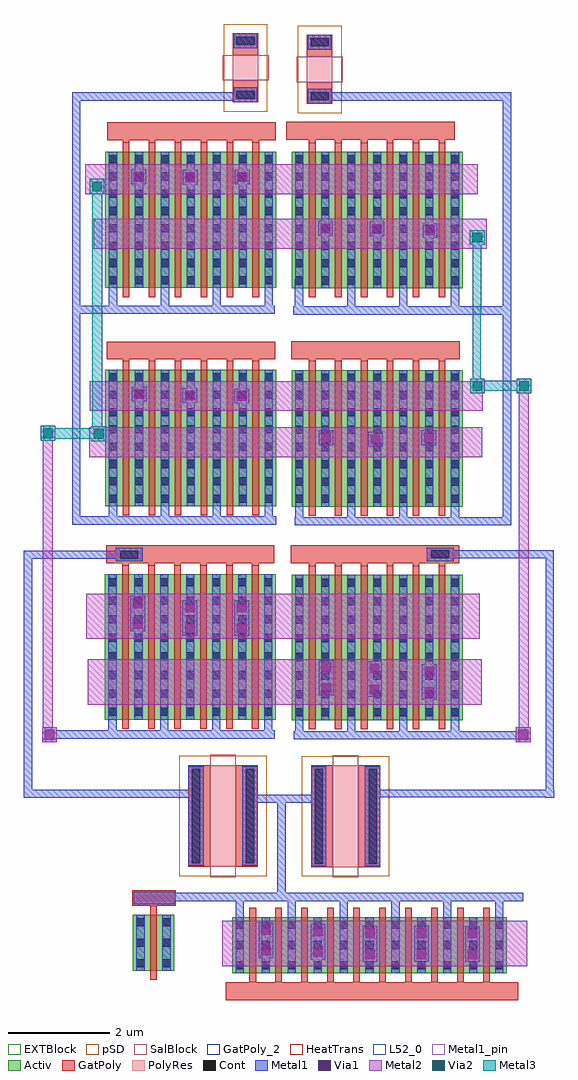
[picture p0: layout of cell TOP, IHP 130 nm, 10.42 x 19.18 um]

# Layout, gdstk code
from math import pi, radians
import gdstk
lib = gdstk.Library(unit=1e-6, precision=1e-09)
def R(c, l, rs):  # rectangles x0, y0, x1, y1
    for r in rs: c.add(gdstk.rectangle(r[:2], r[2:], *l))
def A(c, l, x, y, w, h, nx, ny, dx, dy):  # array of equal rectangles
    R(c, l, [(x+i*dx, y+j*dy, x+i*dx+w, y+j*dy+h) for i in range(nx) for j in range(ny)])
Activ = (1, 0)
GatPoly = (5, 0)
GatPoly_2 = (5, 2)
Cont = (6, 0)
Metal1 = (8, 0)
Metal1_pin = (8, 2)
Metal2 = (10, 0)
pSD = (14, 0)
Via1 = (19, 0)
SalBlock = (28, 0)
Via2 = (29, 0)
Metal3 = (30, 0)
HeatTrans = (51, 0)
L52_0 = (52, 0)
EXTBlock = (111, 0)
PolyRes = (128, 0)

rppd = lib.new_cell('rppd')
R(rppd, GatPoly, [(0,-0.43,2,-0.2), (0,-0.2,2,0), (0,0.5,2,0.7), (0,0.7,2,0.93)])
R(rppd, Cont, [(0.07,-0.36,1.93,-0.2), (0.07,0.7,1.93,0.86)])
R(rppd, Metal1, [(0.02,-0.43,1.98,-0.13), (0.02,0.63,1.98,0.93)])
R(rppd, Metal1_pin, [(0.02,-0.43,1.98,-0.13), (0.02,0.63,1.98,0.93)])
R(rppd, pSD, [(-0.18,-0.61,2.18,0), (-0.18,0,2.18,0.5), (-0.18,0.5,2.18,1.11)])
R(rppd, SalBlock, [(-0.2,0,2.2,0.5)])
R(rppd, L52_0, [(0,0,2,0.5)])
R(rppd, EXTBlock, [(-0.18,-0.61,2.18,0), (-0.2,0,2.2,0.5), (-0.18,0.5,2.18,1.11)])
R(rppd, PolyRes, [(0,0,2,0.5)])
rppd.add(gdstk.Label('rpnd r=99.806', (1,0.25), layer=63, texttype=0))
rppd.add(gdstk.Label('rppd', (1,0.25), layer=52, texttype=0))

nmos_4 = lib.new_cell('nmos$4')
A(nmos_4, Activ, 0, 0, 0.3, 0.3, 7, 1, 0.51, 0)
R(nmos_4, Activ, [(0,0,3.36,2.68)])
A(nmos_4, GatPoly, 0.34, -0.18, 0.13, 3.04, 6, 1, 0.51, 0)
R(nmos_4, GatPoly_2, [(0.34,-0.18,0.47,2.86)])
A(nmos_4, Cont, 0.07, 0.07, 0.16, 0.16, 7, 8, 0.51, 0.34)
A(nmos_4, Metal1, 0.07, 0, 0.16, 2.68, 7, 1, 0.51, 0)
R(nmos_4, Metal1_pin, [(0.07,0,0.23,2.68), (0.58,0,0.74,2.68)])
A(nmos_4, HeatTrans, 0.34, -0.18, 0.13, 3.04, 6, 1, 0.51, 0)
nmos_4.add(gdstk.Label('nmos', (0.405,1.34), layer=63, texttype=0))
nmos_4.add(gdstk.Label('nmos', (0.405,1.34), layer=51, texttype=0))
nmos_4.add(gdstk.Label('nmos', (0.915,1.34), layer=51, texttype=0))
nmos_4.add(gdstk.Label('nmos', (1.425,1.34), layer=51, texttype=0))
nmos_4.add(gdstk.Label('nmos', (1.935,1.34), layer=51, texttype=0))
nmos_4.add(gdstk.Label('nmos', (2.445,1.34), layer=51, texttype=0))
nmos_4.add(gdstk.Label('nmos', (2.955,1.34), layer=51, texttype=0))

nmos_6 = lib.new_cell('nmos$6')
A(nmos_6, Activ, 0, 0, 0.3, 0.3, 7, 1, 0.51, 0)
R(nmos_6, Activ, [(0,0,3.36,2.85)])
A(nmos_6, GatPoly, 0.34, -0.18, 0.13, 3.21, 6, 1, 0.51, 0)
R(nmos_6, GatPoly_2, [(0.34,-0.18,0.47,3.03)])
A(nmos_6, Cont, 0.07, 0.07, 0.16, 0.16, 7, 2, 0.51, 0.36)
A(nmos_6, Cont, 0.07, 0.795, 0.16, 0.16, 7, 6, 0.51, 0.365)
A(nmos_6, Metal1, 0.07, 0, 0.16, 2.85, 7, 1, 0.51, 0)
R(nmos_6, Metal1_pin, [(0.07,0,0.23,2.85), (0.58,0,0.74,2.85)])
A(nmos_6, HeatTrans, 0.34, -0.18, 0.13, 3.21, 6, 1, 0.51, 0)
nmos_6.add(gdstk.Label('nmos', (0.405,1.425), layer=63, texttype=0))
nmos_6.add(gdstk.Label('nmos', (0.405,1.425), layer=51, texttype=0))
nmos_6.add(gdstk.Label('nmos', (0.915,1.425), layer=51, texttype=0))
nmos_6.add(gdstk.Label('nmos', (1.425,1.425), layer=51, texttype=0))
nmos_6.add(gdstk.Label('nmos', (1.935,1.425), layer=51, texttype=0))
nmos_6.add(gdstk.Label('nmos', (2.445,1.425), layer=51, texttype=0))
nmos_6.add(gdstk.Label('nmos', (2.955,1.425), layer=51, texttype=0))

via_stack_1 = lib.new_cell('via_stack$1')
R(via_stack_1, Metal1, [(-0.145,-0.145,0.145,0.145)])
R(via_stack_1, Metal2, [(-0.145,-0.145,0.145,0.145)])
R(via_stack_1, Via1, [(-0.095,-0.095,0.095,0.095)])

via_stack = lib.new_cell('via_stack')
R(via_stack, Metal2, [(-0.145,-0.145,0.145,0.145)])
R(via_stack, Via2, [(-0.095,-0.095,0.095,0.095)])
R(via_stack, Metal3, [(-0.145,-0.145,0.145,0.145)])

via_stack_2 = lib.new_cell('via_stack$2')
R(via_stack_2, Metal1, [(-0.145,-0.35,0.145,0.35)])
R(via_stack_2, Metal2, [(-0.145,-0.35,0.145,0.35)])
R(via_stack_2, Via1, [(-0.095,-0.3,0.095,-0.11), (-0.095,0.11,0.095,0.3)])

rppd_2 = lib.new_cell('rppd$2')
R(rppd_2, GatPoly, [(0,-0.43,2,-0.2), (0,-0.2,2,0), (0,0.5,2,0.7), (0,0.7,2,0.93)])
R(rppd_2, Cont, [(0.07,-0.36,1.93,-0.2), (0.07,0.7,1.93,0.86)])
R(rppd_2, Metal1, [(0.02,-0.43,1.98,-0.13), (0.02,0.63,1.98,0.93)])
R(rppd_2, Metal1_pin, [(0.02,-0.43,1.98,-0.13), (0.02,0.63,1.98,0.93)])
R(rppd_2, pSD, [(-0.18,-0.61,2.18,0), (-0.18,0,2.18,0.5), (-0.18,0.5,2.18,1.11)])
R(rppd_2, SalBlock, [(-0.2,0,2.2,0.5)])
R(rppd_2, L52_0, [(0,0,2,0.5)])
R(rppd_2, EXTBlock, [(-0.18,-0.61,2.18,0), (-0.2,0,2.2,0.5), (-0.18,0.5,2.18,1.11)])
R(rppd_2, PolyRes, [(0,0,2,0.5)])
rppd_2.add(gdstk.Label('rpnd r=99.806', (1,0.25), layer=63, texttype=0))
rppd_2.add(gdstk.Label('rppd', (1,0.25), layer=52, texttype=0))

rppd_4 = lib.new_cell('rppd$4')
R(rppd_4, GatPoly, [(0,-0.43,0.5,-0.2), (0,-0.2,0.5,0), (0,0.5,0.5,0.7), (0,0.7,0.5,0.93)])
R(rppd_4, Cont, [(0.07,-0.36,0.43,-0.2), (0.07,0.7,0.43,0.86)])
R(rppd_4, Metal1, [(0.02,-0.43,0.48,-0.13), (0.02,0.63,0.48,0.93)])
R(rppd_4, Metal1_pin, [(0.02,-0.43,0.48,-0.13), (0.02,0.63,0.48,0.93)])
R(rppd_4, pSD, [(-0.18,-0.61,0.68,0), (-0.18,0,0.68,0.5), (-0.18,0.5,0.68,1.11)])
R(rppd_4, SalBlock, [(-0.2,0,0.7,0.5)])
R(rppd_4, L52_0, [(0,0,0.5,0.5)])
R(rppd_4, EXTBlock, [(-0.18,-0.61,0.68,0), (-0.2,0,0.7,0.5), (-0.18,0.5,0.68,1.11)])
R(rppd_4, PolyRes, [(0,0,0.5,0.5)])
rppd_4.add(gdstk.Label('rpnd r=396.917', (0.25,0.25), layer=63, texttype=0))
rppd_4.add(gdstk.Label('rppd', (0.25,0.25), layer=52, texttype=0))

nmos_7 = lib.new_cell('nmos$7')
R(nmos_7, Activ, [(0,0,0.3,0.3), (0,0,0.81,1.1), (0.51,0,0.81,0.3)])
R(nmos_7, GatPoly, [(0.34,-0.18,0.47,1.28)])
R(nmos_7, GatPoly_2, [(0.34,-0.18,0.47,1.28)])
A(nmos_7, Cont, 0.07, 0.07, 0.16, 0.16, 1, 3, 0, 0.4)
A(nmos_7, Cont, 0.58, 0.07, 0.16, 0.16, 1, 3, 0, 0.4)
R(nmos_7, Metal1, [(0.07,0,0.23,1.1), (0.58,0,0.74,1.1)])
R(nmos_7, Metal1_pin, [(0.07,0,0.23,1.1), (0.58,0,0.74,1.1)])
R(nmos_7, HeatTrans, [(0.34,-0.18,0.47,1.28)])
nmos_7.add(gdstk.Label('nmos', (0.405,0.55), layer=63, texttype=0))
nmos_7.add(gdstk.Label('nmos', (0.405,0.55), layer=51, texttype=0))

nmos = lib.new_cell('nmos')
A(nmos, Activ, 0, 0, 0.3, 0.3, 11, 1, 0.51, 0)
R(nmos, Activ, [(0,0,5.4,1.1)])
A(nmos, GatPoly, 0.34, -0.18, 0.13, 1.46, 10, 1, 0.51, 0)
R(nmos, GatPoly_2, [(0.34,-0.18,0.47,1.28)])
A(nmos, Cont, 0.07, 0.07, 0.16, 0.16, 11, 3, 0.51, 0.4)
A(nmos, Metal1, 0.07, 0, 0.16, 1.1, 11, 1, 0.51, 0)
R(nmos, Metal1_pin, [(0.07,0,0.23,1.1), (0.58,0,0.74,1.1)])
A(nmos, HeatTrans, 0.34, -0.18, 0.13, 1.46, 10, 1, 0.51, 0)
nmos.add(gdstk.Label('nmos', (0.405,0.55), layer=63, texttype=0))
nmos.add(gdstk.Label('nmos', (0.405,0.55), layer=51, texttype=0))
nmos.add(gdstk.Label('nmos', (0.915,0.55), layer=51, texttype=0))
nmos.add(gdstk.Label('nmos', (1.425,0.55), layer=51, texttype=0))
nmos.add(gdstk.Label('nmos', (1.935,0.55), layer=51, texttype=0))
nmos.add(gdstk.Label('nmos', (2.445,0.55), layer=51, texttype=0))
nmos.add(gdstk.Label('nmos', (2.955,0.55), layer=51, texttype=0))
nmos.add(gdstk.Label('nmos', (3.465,0.55), layer=51, texttype=0))
nmos.add(gdstk.Label('nmos', (3.975,0.55), layer=51, texttype=0))
nmos.add(gdstk.Label('nmos', (4.485,0.55), layer=51, texttype=0))
nmos.add(gdstk.Label('nmos', (4.995,0.55), layer=51, texttype=0))

top = lib.new_cell('TOP')
R(top, Metal1, [(-10.815,-14.55,-10.015,-14.3)])
R(top, Metal1_pin, [(-10.815,-14.55,-10.015,-14.3)])
R(top, Metal2, [(-9.07,-15.765,-3.08,-14.875), (-11.715,-10.63,-3.98,-9.74), (-11.745,-9.335,-4.01,-8.445), (-11.69,-5.765,-3.97,-5.18), (-11.68,-4.855,-3.96,-4.27), (-11.595,-1.67,-3.875,-1.085), (-11.77,-0.6,-4.05,-0.015), (-11.77,-0.6,-4.05,-0.015), (-11.77,-0.6,-4.05,-0.015), (-11.77,-0.6,-4.05,-0.015), (-11.77,-0.6,-4.05,-0.015), (-11.77,-0.6,-4.05,-0.015), (-11.77,-0.6,-4.05,-0.015), (-11.77,-0.6,-4.05,-0.015)])
top.add(gdstk.FlexPath([(-8.93,-14.405),(-3.165,-14.405)], 0.16, ends="flush", simple_path=True, layer=8, datatype=0))  # Metal1
top.add(gdstk.FlexPath([(-8.73,-14.485),(-8.73,-14.8)], 0.16, ends="flush", simple_path=True, layer=8, datatype=0))  # Metal1
top.add(gdstk.FlexPath([(-3.63,-14.485),(-3.63,-14.8)], 0.16, ends="flush", simple_path=True, layer=8, datatype=0))  # Metal1
top.add(gdstk.FlexPath([(-4.65,-14.485),(-4.65,-14.8)], 0.16, ends="flush", simple_path=True, layer=8, datatype=0))  # Metal1
top.add(gdstk.FlexPath([(-5.67,-14.485),(-5.67,-14.8)], 0.16, ends="flush", simple_path=True, layer=8, datatype=0))  # Metal1
top.add(gdstk.FlexPath([(-6.69,-14.485),(-6.69,-14.8)], 0.16, ends="flush", simple_path=True, layer=8, datatype=0))  # Metal1
top.add(gdstk.FlexPath([(-7.71,-14.485),(-7.71,-14.8)], 0.16, ends="flush", simple_path=True, layer=8, datatype=0))  # Metal1
top.add(gdstk.FlexPath([(-7.91,-12.395),(-7.91,-14.315)], 0.16, ends="flush", simple_path=True, layer=8, datatype=0))  # Metal1
top.add(gdstk.FlexPath([(-7.91,-14.315),(-7.91,-14.325),(-7.91,-14.325)], 0.16, ends="flush", simple_path=True, layer=8, datatype=0))  # Metal1
top.add(gdstk.FlexPath([(-8.93,-14.405),(-10.115,-14.405)], 0.16, ends="flush", simple_path=True, layer=8, datatype=0))  # Metal1
top.add(gdstk.FlexPath([(-10.115,-14.405),(-10.16,-14.405)], 0.16, ends="flush", simple_path=True, layer=8, datatype=0))  # Metal1
top.add(gdstk.FlexPath([(-12.965,-12.375),(-9.51,-12.375)], 0.16, ends="flush", simple_path=True, layer=8, datatype=0))  # Metal1
top.add(gdstk.FlexPath([(-11.94,-2.93),(-11.94,1.385)], 0.16, ends="flush", simple_path=True, layer=8, datatype=0))  # Metal1
top.add(gdstk.FlexPath([(-11.48,-2.87),(-12.02,-2.87),(-12.02,-2.87),(-12.02,-2.87)], 0.16, ends="flush", simple_path=True, layer=8, datatype=0))  # Metal1
top.add(gdstk.FlexPath([(-7.07,1.32),(-3.4,1.32)], 0.16, ends="flush", simple_path=True, layer=8, datatype=0))  # Metal1
top.add(gdstk.FlexPath([(-3.48,-2.805),(-3.48,1.4)], 0.16, ends="flush", simple_path=True, layer=8, datatype=0))  # Metal1
top.add(gdstk.FlexPath([(-8.47,1.32),(-12.02,1.32),(-12.02,1.32)], 0.16, ends="flush", simple_path=True, layer=8, datatype=0))  # Metal1
top.add(gdstk.FlexPath([(-12.89,-12.46),(-12.89,-10.515),(-12.89,-8.29),(-12.89,-7.625)], 0.16, ends="flush", simple_path=True, layer=8, datatype=0))  # Metal1
top.add(gdstk.FlexPath([(-11.165,-7.68),(-10.635,-7.68)], 0.27, ends="flush", simple_path=True, layer=8, datatype=0))  # Metal1
top.add(gdstk.FlexPath([(-12.89,-7.625),(-12.89,-7.6)], 0.16, ends="flush", simple_path=True, layer=8, datatype=0))  # Metal1
top.add(gdstk.FlexPath([(-10.915,-7.68),(-12.97,-7.68)], 0.16, ends="flush", simple_path=True, layer=8, datatype=0))  # Metal1
top.add(gdstk.FlexPath([(-5.055,-7.675),(-4.525,-7.675)], 0.27, ends="flush", simple_path=True, layer=8, datatype=0))  # Metal1
top.add(gdstk.FlexPath([(-2.64,-7.595),(-2.64,-12.455)], 0.16, ends="flush", simple_path=True, layer=8, datatype=0))  # Metal1
top.add(gdstk.FlexPath([(-2.555,-12.375),(-6.19,-12.37)], 0.16, ends="flush", simple_path=True, layer=8, datatype=0))  # Metal1
top.add(gdstk.FlexPath([(-8.535,-12.475),(-7.2,-12.475)], 0.16, ends="flush", simple_path=True, layer=8, datatype=0))  # Metal1
top.add(gdstk.FlexPath([(-2.56,-7.675),(-4.855,-7.675)], 0.16, ends="flush", simple_path=True, layer=8, datatype=0))  # Metal1
top.add(gdstk.FlexPath([(-10.2,-2.265),(-10.2,-2.79)], 0.16, ends="flush", simple_path=True, layer=8, datatype=0))  # Metal1
top.add(gdstk.FlexPath([(-9.18,-2.27),(-9.18,-2.79)], 0.16, ends="flush", simple_path=True, layer=8, datatype=0))  # Metal1
top.add(gdstk.FlexPath([(-8.16,-2.265),(-8.16,-2.79)], 0.16, ends="flush", simple_path=True, layer=8, datatype=0))  # Metal1
top.add(gdstk.FlexPath([(-7.565,-2.265),(-7.565,-2.805)], 0.16, ends="flush", simple_path=True, layer=8, datatype=0))  # Metal1
top.add(gdstk.FlexPath([(-6.54,-2.275),(-6.54,-2.805)], 0.16, ends="flush", simple_path=True, layer=8, datatype=0))  # Metal1
top.add(gdstk.FlexPath([(-5.52,-2.275),(-5.52,-2.805)], 0.16, ends="flush", simple_path=True, layer=8, datatype=0))  # Metal1
top.add(gdstk.FlexPath([(-11.22,-6.59),(-11.22,-7)], 0.16, ends="flush", simple_path=True, layer=8, datatype=0))  # Metal1
top.add(gdstk.FlexPath([(-10.2,-6.56),(-10.2,-7)], 0.16, ends="flush", simple_path=True, layer=8, datatype=0))  # Metal1
top.add(gdstk.FlexPath([(-8.16,-6.575),(-8.16,-7)], 0.16, ends="flush", simple_path=True, layer=8, datatype=0))  # Metal1
top.add(gdstk.FlexPath([(-9.18,-6.665),(-9.18,-7)], 0.16, ends="flush", simple_path=True, layer=8, datatype=0))  # Metal1
top.add(gdstk.FlexPath([(-7.56,-6.58),(-7.56,-6.99)], 0.16, ends="flush", simple_path=True, layer=8, datatype=0))  # Metal1
top.add(gdstk.FlexPath([(-6.54,-6.585),(-6.54,-6.99)], 0.16, ends="flush", simple_path=True, layer=8, datatype=0))  # Metal1
top.add(gdstk.FlexPath([(-5.52,-6.635),(-5.52,-6.99)], 0.16, ends="flush", simple_path=True, layer=8, datatype=0))  # Metal1
top.add(gdstk.FlexPath([(-4.5,-6.62),(-4.5,-6.99)], 0.16, ends="flush", simple_path=True, layer=8, datatype=0))  # Metal1
top.add(gdstk.FlexPath([(-4.5,-2.435),(-4.5,-2.805)], 0.16, ends="flush", simple_path=True, layer=8, datatype=0))  # Metal1
top.add(gdstk.FlexPath([(-11.22,-2.26),(-11.22,-2.79),(-11.22,-2.79),(-11.22,-2.79)], 0.16, ends="flush", simple_path=True, layer=8, datatype=0))  # Metal1
top.add(gdstk.FlexPath([(-11.48,-2.87),(-8.045,-2.87)], 0.16, ends="flush", simple_path=True, layer=8, datatype=0))  # Metal1
top.add(gdstk.FlexPath([(-7.675,-2.885),(-4.17,-2.885)], 0.16, ends="flush", simple_path=True, layer=8, datatype=0))  # Metal1
top.add(gdstk.FlexPath([(-7.675,-2.885),(-4.17,-2.885)], 0.16, ends="flush", simple_path=True, layer=8, datatype=0))  # Metal1
top.add(gdstk.FlexPath([(-11.48,-2.87),(-8.045,-2.87)], 0.16, ends="flush", simple_path=True, layer=8, datatype=0))  # Metal1
top.add(gdstk.FlexPath([(-11.45,-7.01),(-8.015,-7.01)], 0.16, ends="flush", simple_path=True, layer=8, datatype=0))  # Metal1
top.add(gdstk.FlexPath([(-7.645,-7.025),(-4.14,-7.025)], 0.16, ends="flush", simple_path=True, layer=8, datatype=0))  # Metal1
top.add(gdstk.FlexPath([(-7.645,-7.025),(-4.14,-7.025)], 0.16, ends="flush", simple_path=True, layer=8, datatype=0))  # Metal1
top.add(gdstk.FlexPath([(-11.45,-7.01),(-8.015,-7.01)], 0.16, ends="flush", simple_path=True, layer=8, datatype=0))  # Metal1
top.add(gdstk.FlexPath([(-11.475,-11.215),(-8.04,-11.215)], 0.16, ends="flush", simple_path=True, layer=8, datatype=0))  # Metal1
top.add(gdstk.FlexPath([(-7.67,-11.23),(-4.165,-11.23)], 0.16, ends="flush", simple_path=True, layer=8, datatype=0))  # Metal1
top.add(gdstk.FlexPath([(-7.67,-11.23),(-4.165,-11.23)], 0.16, ends="flush", simple_path=True, layer=8, datatype=0))  # Metal1
top.add(gdstk.FlexPath([(-11.475,-11.215),(-8.04,-11.215)], 0.16, ends="flush", simple_path=True, layer=8, datatype=0))  # Metal1
top.add(gdstk.FlexPath([(-11.23,-11.135),(-11.23,-10.89)], 0.16, ends="flush", simple_path=True, layer=8, datatype=0))  # Metal1
top.add(gdstk.FlexPath([(-10.21,-11.135),(-10.21,-10.905)], 0.16, ends="flush", simple_path=True, layer=8, datatype=0))  # Metal1
top.add(gdstk.FlexPath([(-9.19,-11.135),(-9.19,-10.88)], 0.16, ends="flush", simple_path=True, layer=8, datatype=0))  # Metal1
top.add(gdstk.FlexPath([(-8.17,-11.14),(-8.17,-10.875)], 0.16, ends="flush", simple_path=True, layer=8, datatype=0))  # Metal1
top.add(gdstk.FlexPath([(-7.56,-11.165),(-7.56,-10.9)], 0.16, ends="flush", simple_path=True, layer=8, datatype=0))  # Metal1
top.add(gdstk.FlexPath([(-6.54,-11.155),(-6.54,-10.895)], 0.16, ends="flush", simple_path=True, layer=8, datatype=0))  # Metal1
top.add(gdstk.FlexPath([(-5.52,-11.155),(-5.52,-10.905)], 0.16, ends="flush", simple_path=True, layer=8, datatype=0))  # Metal1
top.add(gdstk.FlexPath([(-4.5,-11.155),(-4.5,-10.92)], 0.16, ends="flush", simple_path=True, layer=8, datatype=0))  # Metal1
top.add(gdstk.FlexPath([(-4.17,-2.885),(-3.4,-2.885),(-3.4,-2.885),(-3.4,-2.885)], 0.16, ends="flush", simple_path=True, layer=8, datatype=0))  # Metal1
top.add(gdstk.FlexPath([(-4.155,-7.025),(-3.395,-7.025)], 0.16, ends="flush", simple_path=True, layer=8, datatype=0))  # Metal1
top.add(gdstk.FlexPath([(-3.48,-2.965),(-3.48,-7.105)], 0.16, ends="flush", simple_path=True, layer=8, datatype=0))  # Metal1
top.add(gdstk.FlexPath([(-11.94,-2.93),(-11.94,-3.505)], 0.16, ends="flush", simple_path=True, layer=8, datatype=0))  # Metal1
top.add(gdstk.FlexPath([(-11.94,-3.5),(-11.94,-4.405)], 0.16, ends="flush", simple_path=True, layer=8, datatype=0))  # Metal1
top.add(gdstk.FlexPath([(-11.94,-4.405),(-11.94,-6.47)], 0.16, ends="flush", simple_path=True, layer=8, datatype=0))  # Metal1
top.add(gdstk.FlexPath([(-11.94,-6.47),(-11.94,-7.085)], 0.16, ends="flush", simple_path=True, layer=8, datatype=0))  # Metal1
top.add(gdstk.FlexPath([(-11.45,-7.01),(-12.02,-7.01)], 0.16, ends="flush", simple_path=True, layer=8, datatype=0))  # Metal1
top.add(gdstk.FlexPath([(-11.475,-11.215),(-12.515,-11.215)], 0.16, ends="flush", simple_path=True, layer=8, datatype=0))  # Metal1
top.add(gdstk.FlexPath([(-4.165,-11.23),(-3.195,-11.23)], 0.16, ends="flush", simple_path=True, layer=8, datatype=0))  # Metal1
top.add(gdstk.FlexPath([(-11.165,-7.68),(-10.635,-7.68)], 0.27, ends="flush", simple_path=True, layer=8, datatype=2))  # Metal1_pin
top.add(gdstk.FlexPath([(-5.055,-7.675),(-4.525,-7.675)], 0.27, ends="flush", simple_path=True, layer=8, datatype=2))  # Metal1_pin
top.add(gdstk.FlexPath([(-9.005,-16.255),(-3.255,-16.255)], 0.35, ends="flush", simple_path=True, layer=5, datatype=0))  # GatPoly
top.add(gdstk.FlexPath([(-10.84,-14.425),(-9.99,-14.425)], 0.3, ends="flush", simple_path=True, layer=5, datatype=0))  # GatPoly
top.add(gdstk.FlexPath([(-11.355,-7.67),(-8.05,-7.67)], 0.35, ends="flush", simple_path=True, layer=5, datatype=0))  # GatPoly
top.add(gdstk.FlexPath([(-7.725,-7.675),(-4.42,-7.675)], 0.35, ends="flush", simple_path=True, layer=5, datatype=0))  # GatPoly
top.add(gdstk.FlexPath([(-7.715,-3.665),(-4.41,-3.665)], 0.35, ends="flush", simple_path=True, layer=5, datatype=0))  # GatPoly
top.add(gdstk.FlexPath([(-11.34,-3.67),(-8.035,-3.67)], 0.35, ends="flush", simple_path=True, layer=5, datatype=0))  # GatPoly
top.add(gdstk.FlexPath([(-7.815,0.645),(-4.51,0.645)], 0.35, ends="flush", simple_path=True, layer=5, datatype=0))  # GatPoly
top.add(gdstk.FlexPath([(-11.33,0.64),(-8.025,0.64)], 0.35, ends="flush", simple_path=True, layer=5, datatype=0))  # GatPoly
top.add(gdstk.FlexPath([(-8.415,0.42),(-8.415,0.475)], 0.13, ends="flush", simple_path=True, layer=5, datatype=0))  # GatPoly
top.add(gdstk.FlexPath([(-8.925,0.42),(-8.925,0.475)], 0.13, ends="flush", simple_path=True, layer=5, datatype=0))  # GatPoly
top.add(gdstk.FlexPath([(-9.435,0.42),(-9.435,0.475)], 0.13, ends="flush", simple_path=True, layer=5, datatype=0))  # GatPoly
top.add(gdstk.FlexPath([(-9.945,0.42),(-9.945,0.475),(-9.945,0.475)], 0.13, ends="flush", simple_path=True, layer=5, datatype=0))  # GatPoly
top.add(gdstk.FlexPath([(-10.455,0.42),(-10.455,0.48)], 0.13, ends="flush", simple_path=True, layer=5, datatype=0))  # GatPoly
top.add(gdstk.FlexPath([(-7.305,0.37),(-7.305,0.53)], 0.13, ends="flush", simple_path=True, layer=5, datatype=0))  # GatPoly
top.add(gdstk.FlexPath([(-6.795,0.385),(-6.795,0.52)], 0.13, ends="flush", simple_path=True, layer=5, datatype=0))  # GatPoly
top.add(gdstk.FlexPath([(-6.285,0.38),(-6.285,0.525)], 0.13, ends="flush", simple_path=True, layer=5, datatype=0))  # GatPoly
top.add(gdstk.FlexPath([(-5.775,0.385),(-5.775,0.525)], 0.13, ends="flush", simple_path=True, layer=5, datatype=0))  # GatPoly
top.add(gdstk.FlexPath([(-5.265,0.385),(-5.265,0.52)], 0.13, ends="flush", simple_path=True, layer=5, datatype=0))  # GatPoly
top.add(gdstk.FlexPath([(-4.755,0.38),(-4.755,0.52)], 0.13, ends="flush", simple_path=True, layer=5, datatype=0))  # GatPoly
top.add(gdstk.FlexPath([(-10.965,0.42),(-10.965,0.48)], 0.13, ends="flush", simple_path=True, layer=5, datatype=0))  # GatPoly
top.add(gdstk.FlexPath([(-10.965,-3.87),(-10.965,-3.835)], 0.13, ends="flush", simple_path=True, layer=5, datatype=0))  # GatPoly
top.add(gdstk.FlexPath([(-10.455,-3.905),(-10.455,-3.8)], 0.13, ends="flush", simple_path=True, layer=5, datatype=0))  # GatPoly
top.add(gdstk.FlexPath([(-9.945,-3.92),(-9.945,-3.79)], 0.13, ends="flush", simple_path=True, layer=5, datatype=0))  # GatPoly
top.add(gdstk.FlexPath([(-9.435,-3.87),(-9.435,-3.825)], 0.13, ends="flush", simple_path=True, layer=5, datatype=0))  # GatPoly
top.add(gdstk.FlexPath([(-8.925,-3.91),(-8.925,-3.79)], 0.13, ends="flush", simple_path=True, layer=5, datatype=0))  # GatPoly
top.add(gdstk.FlexPath([(-8.415,-3.92),(-8.415,-3.795)], 0.13, ends="flush", simple_path=True, layer=5, datatype=0))  # GatPoly
top.add(gdstk.FlexPath([(-7.305,-3.875),(-7.305,-3.825)], 0.13, ends="flush", simple_path=True, layer=5, datatype=0))  # GatPoly
top.add(gdstk.FlexPath([(-6.285,-3.875),(-6.285,-3.82)], 0.13, ends="flush", simple_path=True, layer=5, datatype=0))  # GatPoly
top.add(gdstk.FlexPath([(-6.795,-3.875),(-6.795,-3.82)], 0.13, ends="flush", simple_path=True, layer=5, datatype=0))  # GatPoly
top.add(gdstk.FlexPath([(-5.775,-3.875),(-5.775,-3.825)], 0.13, ends="flush", simple_path=True, layer=5, datatype=0))  # GatPoly
top.add(gdstk.FlexPath([(-5.265,-3.875),(-5.265,-3.82)], 0.13, ends="flush", simple_path=True, layer=5, datatype=0))  # GatPoly
top.add(gdstk.FlexPath([(-4.755,-3.91),(-4.755,-3.79)], 0.13, ends="flush", simple_path=True, layer=5, datatype=0))  # GatPoly
top.add(gdstk.FlexPath([(-10.975,-7.89),(-10.975,-7.83),(-10.975,-7.83)], 0.13, ends="flush", simple_path=True, layer=5, datatype=0))  # GatPoly
top.add(gdstk.FlexPath([(-10.465,-7.89),(-10.465,-7.825)], 0.13, ends="flush", simple_path=True, layer=5, datatype=0))  # GatPoly
top.add(gdstk.FlexPath([(-9.955,-7.89),(-9.955,-7.82)], 0.13, ends="flush", simple_path=True, layer=5, datatype=0))  # GatPoly
top.add(gdstk.FlexPath([(-9.445,-7.89),(-9.445,-7.82)], 0.13, ends="flush", simple_path=True, layer=5, datatype=0))  # GatPoly
top.add(gdstk.FlexPath([(-8.935,-7.89),(-8.935,-7.82)], 0.13, ends="flush", simple_path=True, layer=5, datatype=0))  # GatPoly
top.add(gdstk.FlexPath([(-8.425,-7.89),(-8.425,-7.815)], 0.13, ends="flush", simple_path=True, layer=5, datatype=0))  # GatPoly
top.add(gdstk.FlexPath([(-7.305,-7.9),(-7.305,-7.815)], 0.13, ends="flush", simple_path=True, layer=5, datatype=0))  # GatPoly
top.add(gdstk.FlexPath([(-6.795,-7.9),(-6.795,-7.81)], 0.13, ends="flush", simple_path=True, layer=5, datatype=0))  # GatPoly
top.add(gdstk.FlexPath([(-6.285,-7.9),(-6.285,-7.81)], 0.13, ends="flush", simple_path=True, layer=5, datatype=0))  # GatPoly
top.add(gdstk.FlexPath([(-5.775,-7.9),(-5.775,-7.805)], 0.13, ends="flush", simple_path=True, layer=5, datatype=0))  # GatPoly
top.add(gdstk.FlexPath([(-5.265,-7.9),(-5.265,-7.815)], 0.13, ends="flush", simple_path=True, layer=5, datatype=0))  # GatPoly
top.add(gdstk.FlexPath([(-4.755,-7.9),(-4.755,-7.815)], 0.13, ends="flush", simple_path=True, layer=5, datatype=0))  # GatPoly
top.add(gdstk.FlexPath([(-11.075,-7.68),(-10.725,-7.68)], 0.16, ends="flush", simple_path=True, layer=6, datatype=0))  # Cont
top.add(gdstk.FlexPath([(-4.965,-7.675),(-4.615,-7.675)], 0.16, ends="flush", simple_path=True, layer=6, datatype=0))  # Cont
top.add(gdstk.FlexPath([(-12.5,-5.2),(-12.5,-11.295)], 0.2, ends="flush", simple_path=True, layer=10, datatype=0))  # Metal2
top.add(gdstk.FlexPath([(-3.15,-4.3),(-3.15,-10.7)], 0.2, ends="flush", simple_path=True, layer=10, datatype=0))  # Metal2
top.add(gdstk.FlexPath([(-3.15,-10.695),(-3.15,-11.25)], 0.2, ends="flush", simple_path=True, layer=10, datatype=0))  # Metal2
top.add(gdstk.FlexPath([(-4.075,-4.22),(-4.07,-1.595)], 0.16, ends="flush", simple_path=True, layer=30, datatype=0))  # Metal3
top.add(gdstk.FlexPath([(-4.205,-4.365),(-3,-4.365)], 0.2, ends="flush", simple_path=True, layer=30, datatype=0))  # Metal3
top.add(gdstk.FlexPath([(-11.53,-5.405),(-11.53,-0.4)], 0.2, ends="flush", simple_path=True, layer=30, datatype=0))  # Metal3
top.add(gdstk.FlexPath([(-11.5,-5.3),(-12.59,-5.3)], 0.2, ends="flush", simple_path=True, layer=30, datatype=0))  # Metal3
top.add(gdstk.Reference(rppd, (-8.81,-13.815), rotation=pi/2))
top.add(gdstk.Reference(nmos_4, (-11.37,-6.73)))
top.add(gdstk.Reference(nmos_4, (-7.71,-6.735)))
top.add(gdstk.Reference(nmos_4, (-11.37,-2.44)))
top.add(gdstk.Reference(nmos_4, (-11.37,-2.44)))
top.add(gdstk.Reference(nmos_6, (-7.71,-10.93)))
top.add(gdstk.Reference(nmos_6, (-11.38,-10.92)))
top.add(gdstk.Reference(nmos_4, (-7.71,-2.445)))
r = gdstk.Reference(via_stack_1, (-4.99,-1.31)); r.repetition = gdstk.Repetition(1, 1, v1=(0,0), v2=(0,0)); top.add(r)
r = gdstk.Reference(via_stack_1, (-6.035,-1.28)); r.repetition = gdstk.Repetition(1, 1, v1=(0,0), v2=(0,0)); top.add(r)
r = gdstk.Reference(via_stack_1, (-7.045,-1.27)); r.repetition = gdstk.Repetition(1, 1, v1=(0,0), v2=(0,0)); top.add(r)
r = gdstk.Reference(via_stack_1, (-8.68,-0.26)); r.repetition = gdstk.Repetition(1, 1, v1=(0,0), v2=(0,0)); top.add(r)
r = gdstk.Reference(via_stack_1, (-9.705,-0.265)); r.repetition = gdstk.Repetition(1, 1, v1=(0,0), v2=(0,0)); top.add(r)
r = gdstk.Reference(via_stack_1, (-10.715,-0.255)); r.repetition = gdstk.Repetition(1, 1, v1=(0,0), v2=(0,0)); top.add(r)
r = gdstk.Reference(via_stack, (-11.535,-0.445)); r.repetition = gdstk.Repetition(1, 1, v1=(0,0), v2=(0,0)); top.add(r)
r = gdstk.Reference(via_stack, (-11.5,-5.305)); r.repetition = gdstk.Repetition(1, 1, v1=(0,0), v2=(0,0)); top.add(r)
r = gdstk.Reference(via_stack, (-4.065,-1.45)); r.repetition = gdstk.Repetition(1, 1, v1=(0,0), v2=(0,0)); top.add(r)
r = gdstk.Reference(via_stack, (-4.06,-4.365)); r.repetition = gdstk.Repetition(1, 1, v1=(0,0), v2=(0,0)); top.add(r)
r = gdstk.Reference(via_stack, (-12.495,-5.295)); r.repetition = gdstk.Repetition(1, 1, v1=(0,0), v2=(0,0)); top.add(r)
r = gdstk.Reference(via_stack_1, (-12.47,-11.22)); r.repetition = gdstk.Repetition(1, 1, v1=(0,0), v2=(0,0)); top.add(r)
r = gdstk.Reference(via_stack, (-3.145,-4.365)); r.repetition = gdstk.Repetition(1, 1, v1=(0,0), v2=(0,0)); top.add(r)
r = gdstk.Reference(via_stack_1, (-3.16,-11.22)); r.repetition = gdstk.Repetition(1, 1, v1=(0,0), v2=(0,0)); top.add(r)
r = gdstk.Reference(via_stack_2, (-5.005,-10.18)); r.repetition = gdstk.Repetition(1, 1, v1=(0,0), v2=(0,0)); top.add(r)
r = gdstk.Reference(via_stack_2, (-6.085,-10.125)); r.repetition = gdstk.Repetition(1, 1, v1=(0,0), v2=(0,0)); top.add(r)
r = gdstk.Reference(via_stack_2, (-7.03,-10.095)); r.repetition = gdstk.Repetition(1, 1, v1=(0,0), v2=(0,0)); top.add(r)
r = gdstk.Reference(via_stack_2, (-8.69,-8.925)); r.repetition = gdstk.Repetition(1, 1, v1=(0,0), v2=(0,0)); top.add(r)
r = gdstk.Reference(via_stack_2, (-9.71,-8.925)); r.repetition = gdstk.Repetition(1, 1, v1=(0,0), v2=(0,0)); top.add(r)
r = gdstk.Reference(via_stack_2, (-10.735,-8.84)); r.repetition = gdstk.Repetition(1, 1, v1=(0,0), v2=(0,0)); top.add(r)
top.add(gdstk.Reference(rppd_2, (-6.4,-13.82), rotation=pi/2))
r = gdstk.Reference(rppd_4, (-8.865,1.635)); r.repetition = gdstk.Repetition(1, 1, v1=(0,0), v2=(0,0)); top.add(r)
r = gdstk.Reference(rppd_4, (-7.41,1.605)); r.repetition = gdstk.Repetition(1, 1, v1=(0,0), v2=(0,0)); top.add(r)
r = gdstk.Reference(via_stack_2, (-8.215,-15.255)); r.repetition = gdstk.Repetition(1, 1, v1=(0,0), v2=(0,0)); top.add(r)
r = gdstk.Reference(via_stack_2, (-4.155,-15.33)); r.repetition = gdstk.Repetition(1, 1, v1=(0,0), v2=(0,0)); top.add(r)
r = gdstk.Reference(via_stack_2, (-5.16,-15.325)); r.repetition = gdstk.Repetition(1, 1, v1=(0,0), v2=(0,0)); top.add(r)
top.add(gdstk.Reference(nmos_7, (-10.83,-15.855)))
r = gdstk.Reference(via_stack_2, (-6.17,-15.325)); r.repetition = gdstk.Repetition(1, 1, v1=(0,0), v2=(0,0)); top.add(r)
r = gdstk.Reference(via_stack_2, (-7.195,-15.285)); r.repetition = gdstk.Repetition(1, 1, v1=(0,0), v2=(0,0)); top.add(r)
top.add(gdstk.Reference(nmos, (-8.88,-15.9)))
r = gdstk.Reference(via_stack_1, (-8.69,-4.565)); r.repetition = gdstk.Repetition(1, 1, v1=(0,0), v2=(0,0)); top.add(r)
r = gdstk.Reference(via_stack_1, (-9.71,-4.555)); r.repetition = gdstk.Repetition(1, 1, v1=(0,0), v2=(0,0)); top.add(r)
r = gdstk.Reference(via_stack_1, (-10.705,-4.525)); r.repetition = gdstk.Repetition(1, 1, v1=(0,0), v2=(0,0)); top.add(r)
r = gdstk.Reference(via_stack_1, (-7.035,-5.385)); r.repetition = gdstk.Repetition(1, 1, v1=(0,0), v2=(0,0)); top.add(r)
r = gdstk.Reference(via_stack_1, (-6.065,-5.415)); r.repetition = gdstk.Repetition(1, 1, v1=(0,0), v2=(0,0)); top.add(r)
r = gdstk.Reference(via_stack_1, (-5.015,-5.385)); r.repetition = gdstk.Repetition(1, 1, v1=(0,0), v2=(0,0)); top.add(r)

lib.write_gds('TOP.gds')
